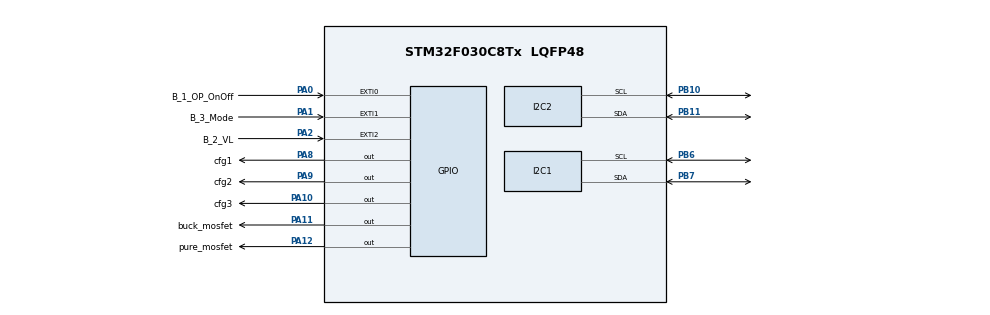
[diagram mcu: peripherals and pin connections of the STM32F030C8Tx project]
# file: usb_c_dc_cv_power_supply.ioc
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I2C1.Timing=0x00201D2B
I2C2.Timing=0x00201D2B
Mcu.Family=STM32F0
Mcu.Name=STM32F030C8Tx
Mcu.Package=LQFP48
NVIC.EXTI0_1_IRQn=true\:1\:0\:true\:false\:true\:true\:true\:true
NVIC.EXTI2_3_IRQn=true\:1\:0\:true\:false\:true\:true\:true\:true
PA0.GPIO_Label=B_1_OP_OnOff
PA0.Signal=GPXTI0
PA1.GPIO_Label=B_3_Mode
PA1.Signal=GPXTI1
PA10.GPIO_Label=cfg3
PA10.Signal=GPIO_Output
PA11.GPIO_Label=buck_mosfet
PA11.Signal=GPIO_Output
PA12.GPIO_Label=pure_mosfet
PA12.Signal=GPIO_Output
PA13.Mode=Serial_Wire
PA13.Signal=SYS_SWDIO
PA14.Mode=Serial_Wire
PA14.Signal=SYS_SWCLK
PA2.GPIO_Label=B_2_VL
PA2.Signal=GPXTI2
PA8.GPIO_Label=cfg1
PA8.Signal=GPIO_Output
PA9.GPIO_Label=cfg2
PA9.Signal=GPIO_Output
PB10.Mode=I2C
PB10.Signal=I2C2_SCL
PB11.Mode=I2C
PB11.Signal=I2C2_SDA
PB6.Mode=I2C
PB6.Signal=I2C1_SCL
PB7.Mode=I2C
PB7.Signal=I2C1_SDA
ProjectManager.HeapSize=0x200
ProjectManager.StackSize=0x400
ProjectManager.TargetToolchain=STM32CubeIDE
board=custom

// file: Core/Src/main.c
/* USER CODE BEGIN Header */
/**
  ******************************************************************************
  * @file           : main.c
  * @brief          : Main program body
  ******************************************************************************
  * @attention
  *
  * Copyright (c) 2025 STMicroelectronics.
  * All rights reserved.
  *
  * This software is licensed under terms that can be found in the LICENSE file
  * in the root directory of this software component.
  * If no LICENSE file comes with this software, it is provided AS-IS.
  *
  ******************************************************************************
  */
/* USER CODE END Header */
#include "main.h"

/* USER CODE BEGIN Includes */
#include "oled.h"
#include "INA226.h"
#include <stdio.h>
#include <stdlib.h>
/* USER CODE END Includes */

I2C_HandleTypeDef hi2c1;
I2C_HandleTypeDef hi2c2;

/* USER CODE BEGIN PV */
volatile mode_type Mode = Mode1;
volatile voltage_level Voltage = Five;
volatile output_status Output = OutputOff;
volatile config_pins_state cfg;
volatile uint32_t prev_tick = 0;
/* USER CODE END PV */

void SystemClock_Config(void);
static void MX_GPIO_Init(void);
static void MX_I2C1_Init(void);
static void MX_I2C2_Init(void);
/* USER CODE BEGIN PFP */
static void set_pure_mosfet(uint8_t val);
static void set_buck_mosfet(uint8_t val);
static void toggle_output(void);
static void toggle_mode(void);
static void toggle_voltage_level(void);
static void set_decoy_voltage(config_pins_state* conf);

static void print_output(void);
static void print_mode(void);
static void print_voltage_current_power(void);
static void print_data(void);

/* USER CODE END PFP */

int main(void)
{

  /* MCU Configuration--------------------------------------------------------*/

  /* Reset of all peripherals, Initializes the Flash interface and the Systick. */
  HAL_Init();

  /* Configure the system clock */
  SystemClock_Config();

  /* Initialize all configured peripherals */
  MX_GPIO_Init();
  MX_I2C1_Init();
  MX_I2C2_Init();
  /* USER CODE BEGIN 2 */
  cfg.cfg1 = CFGSET;
  cfg.cfg2 = CFGSET;
  cfg.cfg3 = CFGSET;

  set_decoy_voltage((config_pins_state *)&cfg);

  SSD1306_Init();

  SSD1306_Clear();

  //SSD1306_Print15X(0, 0, "MODE-1");
  //SSD1306_Print15X(95, 0, "ON");

  SSD1306_Print2X(0, 0, "PSY");
  SSD1306_Print15X(0, 25, "Designed By:");
  SSD1306_Print15X(0, 45, "Ahasas101");

  //SSD1306_Print2X(0, 32, "10.234 A");
  //SSD1306_Print2X(0, 50, "35.691 W");
  SSD1306_Update();
  INA226_Init_Status status = INA226_Init();
  HAL_Delay(2000);

  /* USER CODE END 2 */

  /* Infinite loop */
  while (1)
  {

    /* USER CODE BEGIN 3 */
	//  print_voltage_current_power();
	//  HAL_Delay(10);
	print_data();
	HAL_Delay(10);
  }
  /* USER CODE END 3 */
}

void SystemClock_Config(void)
{
  RCC_OscInitTypeDef RCC_OscInitStruct = {0};
  RCC_ClkInitTypeDef RCC_ClkInitStruct = {0};
  RCC_PeriphCLKInitTypeDef PeriphClkInit = {0};

  /** Initializes the RCC Oscillators according to the specified parameters
  * in the RCC_OscInitTypeDef structure.
  */
  RCC_OscInitStruct.OscillatorType = RCC_OSCILLATORTYPE_HSI;
  RCC_OscInitStruct.HSIState = RCC_HSI_ON;
  RCC_OscInitStruct.HSICalibrationValue = RCC_HSICALIBRATION_DEFAULT;
  RCC_OscInitStruct.PLL.PLLState = RCC_PLL_NONE;
  if (HAL_RCC_OscConfig(&RCC_OscInitStruct) != HAL_OK)
  {
    Error_Handler();
  }

  /** Initializes the CPU, AHB and APB buses clocks
  */
  RCC_ClkInitStruct.ClockType = RCC_CLOCKTYPE_HCLK|RCC_CLOCKTYPE_SYSCLK
                              |RCC_CLOCKTYPE_PCLK1;
  RCC_ClkInitStruct.SYSCLKSource = RCC_SYSCLKSOURCE_HSI;
  RCC_ClkInitStruct.AHBCLKDivider = RCC_SYSCLK_DIV1;
  RCC_ClkInitStruct.APB1CLKDivider = RCC_HCLK_DIV1;

  if (HAL_RCC_ClockConfig(&RCC_ClkInitStruct, FLASH_LATENCY_0) != HAL_OK)
  {
    Error_Handler();
  }
  PeriphClkInit.PeriphClockSelection = RCC_PERIPHCLK_I2C1;
  PeriphClkInit.I2c1ClockSelection = RCC_I2C1CLKSOURCE_HSI;
  if (HAL_RCCEx_PeriphCLKConfig(&PeriphClkInit) != HAL_OK)
  {
    Error_Handler();
  }
}

static void MX_I2C1_Init(void)
{

  hi2c1.Instance = I2C1;
  hi2c1.Init.Timing = 0x00201D2B;
  hi2c1.Init.OwnAddress1 = 0;
  hi2c1.Init.AddressingMode = I2C_ADDRESSINGMODE_7BIT;
  hi2c1.Init.DualAddressMode = I2C_DUALADDRESS_DISABLE;
  hi2c1.Init.OwnAddress2 = 0;
  hi2c1.Init.OwnAddress2Masks = I2C_OA2_NOMASK;
  hi2c1.Init.GeneralCallMode = I2C_GENERALCALL_DISABLE;
  hi2c1.Init.NoStretchMode = I2C_NOSTRETCH_DISABLE;
  if (HAL_I2C_Init(&hi2c1) != HAL_OK)
  {
    Error_Handler();
  }

  /** Configure Analogue filter
  */
  if (HAL_I2CEx_ConfigAnalogFilter(&hi2c1, I2C_ANALOGFILTER_ENABLE) != HAL_OK)
  {
    Error_Handler();
  }

  /** Configure Digital filter
  */
  if (HAL_I2CEx_ConfigDigitalFilter(&hi2c1, 0) != HAL_OK)
  {
    Error_Handler();
  }

}

static void MX_I2C2_Init(void)
{

  hi2c2.Instance = I2C2;
  hi2c2.Init.Timing = 0x00201D2B;
  hi2c2.Init.OwnAddress1 = 0;
  hi2c2.Init.AddressingMode = I2C_ADDRESSINGMODE_7BIT;
  hi2c2.Init.DualAddressMode = I2C_DUALADDRESS_DISABLE;
  hi2c2.Init.OwnAddress2 = 0;
  hi2c2.Init.OwnAddress2Masks = I2C_OA2_NOMASK;
  hi2c2.Init.GeneralCallMode = I2C_GENERALCALL_DISABLE;
  hi2c2.Init.NoStretchMode = I2C_NOSTRETCH_DISABLE;
  if (HAL_I2C_Init(&hi2c2) != HAL_OK)
  {
    Error_Handler();
  }

  /** Configure Analogue filter
  */
  if (HAL_I2CEx_ConfigAnalogFilter(&hi2c2, I2C_ANALOGFILTER_ENABLE) != HAL_OK)
  {
    Error_Handler();
  }

  /** Configure Digital filter
  */
  if (HAL_I2CEx_ConfigDigitalFilter(&hi2c2, 0) != HAL_OK)
  {
    Error_Handler();
  }

}

static void MX_GPIO_Init(void)
{
  GPIO_InitTypeDef GPIO_InitStruct = {0};

  /* GPIO Ports Clock Enable */
  __HAL_RCC_GPIOA_CLK_ENABLE();
  __HAL_RCC_GPIOB_CLK_ENABLE();

  /*Configure GPIO pin Output Level */
  HAL_GPIO_WritePin(GPIOA, cfg1_Pin|cfg2_Pin|cfg3_Pin|buck_mosfet_Pin
                          |pure_mosfet_Pin, GPIO_PIN_RESET);

  /*Configure GPIO pins : B_1_OP_OnOff_Pin B_3_Mode_Pin B_2_VL_Pin */
  GPIO_InitStruct.Pin = B_1_OP_OnOff_Pin|B_3_Mode_Pin|B_2_VL_Pin;
  GPIO_InitStruct.Mode = GPIO_MODE_IT_RISING;
  GPIO_InitStruct.Pull = GPIO_NOPULL;
  HAL_GPIO_Init(GPIOA, &GPIO_InitStruct);

  /*Configure GPIO pins : cfg1_Pin cfg2_Pin cfg3_Pin buck_mosfet_Pin
                           pure_mosfet_Pin */
  GPIO_InitStruct.Pin = cfg1_Pin|cfg2_Pin|cfg3_Pin|buck_mosfet_Pin
                          |pure_mosfet_Pin;
  GPIO_InitStruct.Mode = GPIO_MODE_OUTPUT_PP;
  GPIO_InitStruct.Pull = GPIO_NOPULL;
  GPIO_InitStruct.Speed = GPIO_SPEED_FREQ_LOW;
  HAL_GPIO_Init(GPIOA, &GPIO_InitStruct);

  /* EXTI interrupt init*/
  HAL_NVIC_SetPriority(EXTI0_1_IRQn, 1, 0);
  HAL_NVIC_EnableIRQ(EXTI0_1_IRQn);

  HAL_NVIC_SetPriority(EXTI2_3_IRQn, 1, 0);
  HAL_NVIC_EnableIRQ(EXTI2_3_IRQn);

}

/* USER CODE BEGIN 4 */

void HAL_GPIO_EXTI_Callback(uint16_t GPIO_Pin)
{

	uint32_t curr_tick = HAL_GetTick();
	if(curr_tick - prev_tick > 500)
	{
		prev_tick = HAL_GetTick();
		if(GPIO_Pin == B_1_OP_OnOff_Pin)
		{
			toggle_output();
			//print_output();
		//print_data();
		}

		else if(GPIO_Pin == B_2_VL_Pin)
		{
			set_pure_mosfet(OFF);
			set_buck_mosfet(OFF);
			Output = OutputOff;
			toggle_voltage_level();
			//print_data();

		}

		else if(GPIO_Pin == B_3_Mode_Pin)
		{
			set_pure_mosfet(OFF);
			set_buck_mosfet(OFF);
			Output = OutputOff;
			toggle_mode();
			//print_mode();
			//print_data();

		}
	}
}

static void set_pure_mosfet(uint8_t val)
{
	if(val == ON)
	{
		HAL_GPIO_WritePin(pure_mosfet_GPIO_Port, pure_mosfet_Pin, GPIO_PIN_SET);
	}
	else
	{
		HAL_GPIO_WritePin(pure_mosfet_GPIO_Port, pure_mosfet_Pin, GPIO_PIN_RESET);
	}
}

static void set_buck_mosfet(uint8_t val)
{
	if(val == ON)
	{
		HAL_GPIO_WritePin(buck_mosfet_GPIO_Port, buck_mosfet_Pin, GPIO_PIN_SET);

	}
	else
	{
		HAL_GPIO_WritePin(buck_mosfet_GPIO_Port, buck_mosfet_Pin, GPIO_PIN_RESET);
	}
}

static void toggle_output(void)
{

	switch(Output)
	{
	case OutputOff:
		Output = OutputOn;
		break;
	default:
		Output = OutputOff;
		break;
	}

	if(Output == OutputOn)
	{
		if(Mode == Mode2)
		{
			set_pure_mosfet(OFF);
			set_buck_mosfet(ON);
		}
		else
		{
			set_buck_mosfet(OFF);
			set_pure_mosfet(ON);
		}

	}
	else
	{
		set_buck_mosfet(OFF);
		set_pure_mosfet(OFF);
	}
}

static void toggle_mode(void)
{
	if(Mode == Mode1)
	{
		Mode = Mode2;
	}
	else
	{
		Mode = Mode1;
	}
}

static void toggle_voltage_level(void)
{
	switch(Voltage)
	{
	case Five:
		Voltage = Nine;
		cfg.cfg1 = CFGRESET;
		cfg.cfg2 = CFGRESET;
		cfg.cfg3 = CFGRESET;
		break;

	case Nine:
		Voltage = Twelve;
		cfg.cfg1 = CFGRESET;
		cfg.cfg2 = CFGRESET;
		cfg.cfg3 = CFGSET;
		break;

	case Twelve:
		Voltage = Fifteen;
		cfg.cfg1 = CFGRESET;
		cfg.cfg2 = CFGSET;
		cfg.cfg3 = CFGSET;
		break;

	case Fifteen:
		Voltage = Twenty;
		cfg.cfg1 = CFGRESET;
		cfg.cfg2 = CFGSET;
		cfg.cfg3 = CFGRESET;
		break;

	case Twenty:
		Voltage = Five;
		cfg.cfg1 = CFGSET;
		cfg.cfg2 = CFGSET;
		cfg.cfg3 = CFGSET;
		break;
	}
	set_decoy_voltage((config_pins_state *)&cfg);

}

static void set_decoy_voltage(config_pins_state *conf)
{
	HAL_GPIO_WritePin(cfg1_GPIO_Port, cfg1_Pin, (conf->cfg1));
	HAL_GPIO_WritePin(cfg2_GPIO_Port, cfg2_Pin, (conf->cfg2));
	HAL_GPIO_WritePin(cfg3_GPIO_Port, cfg3_Pin, (conf->cfg3));
}

static void print_data(void)
{
	SSD1306_Clear();
	char *output_pbuff;
	if(Output == OutputOn) {output_pbuff = "ON";}
	else {output_pbuff = "OFF";}
	SSD1306_Print15X(95, 0, output_pbuff);

	char *mode_pbuff;
	if(Mode == Mode1) {mode_pbuff = "MODE1";}
	else if(Mode == Mode2) {mode_pbuff = "Mode2";}
	SSD1306_Print15X(0, 0, mode_pbuff);

	char vbuff[16];
	char cbuff[16];
	char powbuff[16];
	float voltage = INA226_ReadBusVoltage();

	float current = (INA226_ReadCurrent());

	float power   = (INA226_ReadPower());

	sprintf(vbuff, "%.4f V", voltage);
	sprintf(cbuff, "%.4f A", current);
	sprintf(powbuff, "%.4f W", power);
	SSD1306_Print2X(0, 14, vbuff);
	SSD1306_Print2X(0, 32, cbuff);
	SSD1306_Print2X(0, 50, powbuff);
	SSD1306_Update();

}

static void print_output(void)
{
	char *output_pbuff;
	if(Output == OutputOn) output_pbuff = "ON"; output_pbuff = "OFF";
	SSD1306_Print15X(95, 0, output_pbuff);
	SSD1306_Update();
}

static void print_mode(void)
{
	char *mode_pbuff;
	if(Mode == Mode1) {mode_pbuff = "MODE1";}
	else if(Mode == Mode2) {mode_pbuff = "Mode2";}
	SSD1306_Print15X(0, 0, mode_pbuff);
	SSD1306_Update();
}

static void print_voltage_current_power(void)
{
	char vbuff[16];
	char cbuff[16];
	char powbuff[16];
	INA226_Init();
	float voltage = INA226_ReadBusVoltage();
	float current = INA226_ReadCurrent();
	float power   = INA226_ReadPower();

	sprintf(vbuff, "%.3f V", voltage);
	sprintf(cbuff, "%.3f A", current);
	sprintf(powbuff,"%.3f W", power);
	SSD1306_Print2X(0, 14, vbuff);
	SSD1306_Print2X(0, 32, vbuff);
	SSD1306_Print2X(0, 50, powbuff);
	SSD1306_Update();
}

/* USER CODE END 4 */

void Error_Handler(void)
{
  __disable_irq();
  while (1)
  {
  }
}
